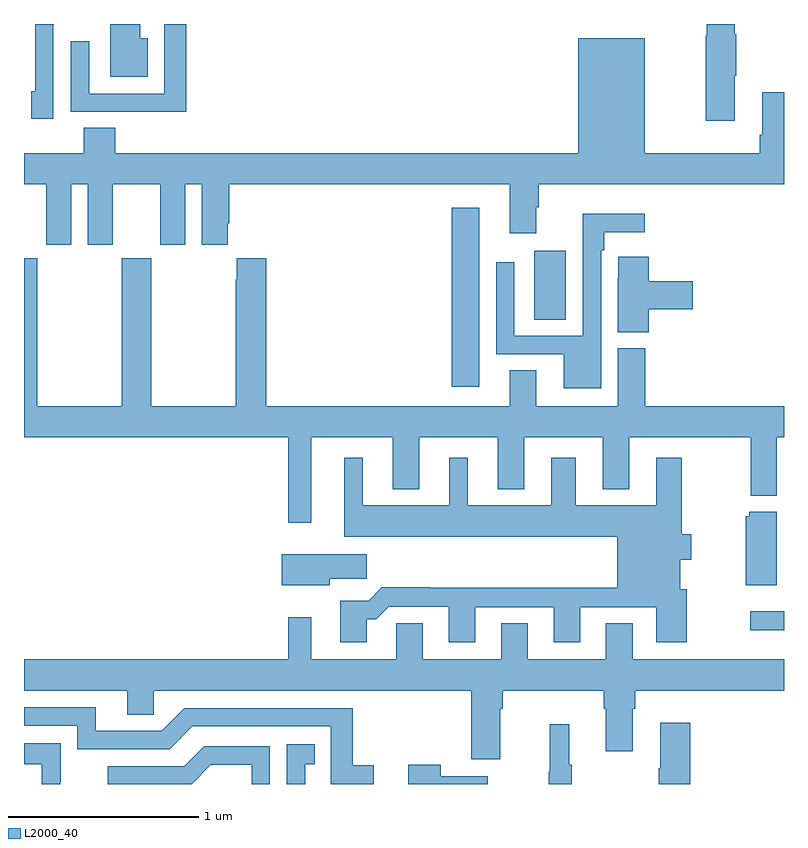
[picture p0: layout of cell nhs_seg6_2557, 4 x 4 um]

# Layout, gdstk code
import gdstk
lib = gdstk.Library(unit=1e-6, precision=1e-09)
def R(c, l, rs):  # rectangles x0, y0, x1, y1
    for r in rs: c.add(gdstk.rectangle(r[:2], r[2:], *l))
def P(c, l, *ps):  # polygons
    for p in ps: c.add(gdstk.Polygon(p, *l))
L2000_40 = (2000, 40)

nhs_seg6_2557 = lib.new_cell('nhs_seg6_2557')
R(nhs_seg6_2557, L2000_40, [(266.823,958.31,267,958.408), (265.25,959.592,265.396,960.532), (265.685,959.944,265.852,960.307)])
P(nhs_seg6_2557, L2000_40, [(263.855,961.5),(263.739,961.5),(263.739,961.134),(263.343,961.134),(263.343,961.408),(263.247,961.408),(263.247,961.038),(263.563,961.038),(263.563,961.037),(263.855,961.037)],
  [(263.65,961.426),(263.611,961.426),(263.611,961.5),(263.453,961.5),(263.453,961.223),(263.65,961.223)],
  [(266.74,961.228),(266.748,961.228),(266.748,961.445),(266.74,961.445),(266.74,961.5),(266.594,961.5),(266.594,961.439),(266.587,961.439),(266.587,960.99),(266.74,960.99)],
  [(263.154,961.495),(263.157,961.495),(263.157,961.5),(263.058,961.5),(263.058,961.146),(263.039,961.146),(263.039,961.002),(263.154,961.002)],
  [(263.248,960.656),(263.336,960.656),(263.336,960.339),(263.467,960.339),(263.467,960.656),(263.717,960.656),(263.717,960.339),(263.848,960.339),(263.848,960.656),(263.936,960.656),(263.936,960.339),(264.073,960.339),(264.073,960.451),(264.08,960.451),(264.08,960.656),(265.556,960.656),(265.556,960.399),(265.696,960.399),(265.696,960.536),(265.709,960.536),(265.709,960.656),(267,960.656),(267,961.141),(266.885,961.141),(266.885,960.916),(266.873,960.916),(266.873,960.82),(266.266,960.82),(266.266,961.426),(265.916,961.426),(265.916,960.82),(263.48,960.82),(263.48,960.953),(263.315,960.953),(263.315,960.82),(263,960.82),(263,960.656),(263.117,960.656),(263.117,960.339),(263.248,960.339)],
  [(266.037,960.308),(266.053,960.308),(266.053,960.404),(266.266,960.404),(266.266,960.502),(265.941,960.502),(265.941,959.859),(265.581,959.859),(265.581,960.247),(265.485,960.247),(265.485,959.763),(265.841,959.763),(265.841,959.582),(266.037,959.582)],
  [(266.288,959.999),(266.521,959.999),(266.521,960.146),(266.288,960.146),(266.288,960.274),(266.127,960.274),(266.127,960.161),(266.126,960.161),(266.126,959.878),(266.288,959.878)],
  [(266.185,959.324),(266.824,959.324),(266.824,959.018),(266.962,959.018),(266.962,959.324),(267,959.324),(267,959.488),(266.27,959.488),(266.27,959.793),(266.126,959.793),(266.126,959.488),(265.696,959.488),(265.696,959.678),(265.556,959.678),(265.556,959.488),(264.275,959.488),(264.275,960.268),(264.119,960.268),(264.119,960.155),(264.115,960.155),(264.115,959.488),(263.67,959.488),(263.67,960.268),(263.515,960.268),(263.515,959.488),(263.07,959.488),(263.07,960.268),(263,960.268),(263,959.324),(264.39,959.324),(264.39,958.875),(264.511,958.875),(264.511,959.324),(264.941,959.324),(264.941,959.051),(265.081,959.051),(265.081,959.324),(265.493,959.324),(265.493,959.051),(265.633,959.051),(265.633,959.324),(266.045,959.324),(266.045,959.051),(266.185,959.051)],
  [(264.805,958.367),(264.854,958.367),(264.921,958.434),(265.235,958.434),(265.235,958.245),(265.375,958.245),(265.375,958.431),(265.787,958.431),(265.787,958.245),(265.927,958.245),(265.927,958.431),(266.327,958.431),(266.327,958.245),(266.487,958.245),(266.487,958.524),(266.455,958.524),(266.455,958.679),(266.512,958.679),(266.512,958.814),(266.463,958.814),(266.463,959.218),(266.327,959.218),(266.327,958.966),(265.903,958.966),(265.903,959.218),(265.775,959.218),(265.775,958.966),(265.336,958.966),(265.336,959.218),(265.238,959.218),(265.238,958.966),(264.784,958.966),(264.784,959.218),(264.686,959.218),(264.686,958.802),(266.123,958.802),(266.123,958.532),(265.139,958.532),(265.139,958.535),(264.884,958.535),(264.814,958.465),(264.665,958.465),(264.665,958.245),(264.805,958.245)],
  [(266.962,958.933),(266.817,958.933),(266.817,958.908),(266.798,958.908),(266.798,958.547),(266.962,958.547)],
  [(264.61,958.579),(264.805,958.579),(264.805,958.708),(264.356,958.708),(264.356,958.547),(264.61,958.547)],
  [(265.507,957.896),(265.52,957.896),(265.52,957.992),(266.051,957.992),(266.051,957.896),(266.063,957.896),(266.063,957.672),(266.203,957.672),(266.203,957.896),(266.216,957.896),(266.216,957.992),(267,957.992),(267,958.156),(266.203,958.156),(266.203,958.346),(266.063,958.346),(266.063,958.156),(265.651,958.156),(265.651,958.346),(265.511,958.346),(265.511,958.156),(265.099,958.156),(265.099,958.346),(264.96,958.346),(264.96,958.156),(264.511,958.156),(264.511,958.378),(264.39,958.378),(264.39,958.156),(263,958.156),(263,957.992),(263.543,957.992),(263.543,957.865),(263.682,957.865),(263.682,957.992),(265.355,957.992),(265.355,957.63),(265.507,957.63)],
  [(264.842,957.598),(264.731,957.598),(264.731,957.9),(263.844,957.9),(263.724,957.78),(263.377,957.78),(263.377,957.903),(263,957.903),(263,957.807),(263.28,957.807),(263.28,957.684),(263.766,957.684),(263.886,957.804),(264.615,957.804),(264.615,957.5),(264.842,957.5)],
  [(266.507,957.823),(266.348,957.823),(266.348,957.584),(266.341,957.584),(266.341,957.5),(266.507,957.5)],
  [(265.882,957.601),(265.871,957.601),(265.871,957.814),(265.768,957.814),(265.768,957.564),(265.761,957.564),(265.761,957.5),(265.882,957.5)],
  [(263.192,957.509),(263.193,957.509),(263.193,957.715),(263,957.715),(263,957.605),(263.093,957.605),(263.093,957.5),(263.192,957.5)],
  [(264.481,957.603),(264.53,957.603),(264.53,957.709),(264.384,957.709),(264.384,957.5),(264.481,957.5)],
  [(263.984,957.602),(264.198,957.602),(264.198,957.5),(264.294,957.5),(264.294,957.699),(263.948,957.699),(263.843,957.594),(263.44,957.594),(263.44,957.5),(263.882,957.5)],
  [(265.441,957.541),(265.193,957.541),(265.193,957.601),(265.022,957.601),(265.022,957.5),(265.441,957.5)])

lib.write_gds('nhs_seg6_2557.gds')
